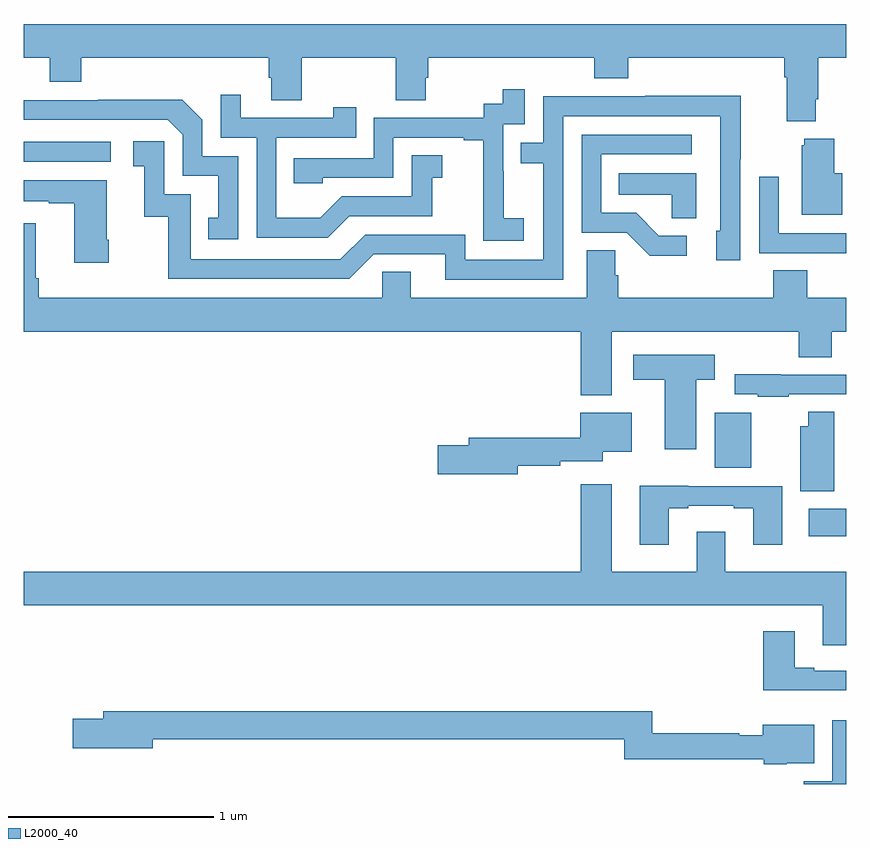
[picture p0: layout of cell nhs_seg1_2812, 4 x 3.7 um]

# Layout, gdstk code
import gdstk
lib = gdstk.Library(unit=1e-6, precision=1e-09)
def R(c, l, rs):  # rectangles x0, y0, x1, y1
    for r in rs: c.add(gdstk.rectangle(r[:2], r[2:], *l))
def P(c, l, *ps):  # polygons
    for p in ps: c.add(gdstk.Polygon(p, *l))
L2000_40 = (2000, 40)

nhs_seg1_2812 = lib.new_cell('nhs_seg1_2812')
R(nhs_seg1_2812, L2000_40, [(266.817,549.404,267,549.538), (266.36,549.737,266.539,550.006), (263,551.226,263.422,551.322)])
P(nhs_seg1_2812, L2000_40, [(266.851,551.53),(266.864,551.53),(266.864,551.732),(267,551.732),(267,551.896),(263,551.896),(263,551.732),(263.126,551.732),(263.126,551.615),(263.279,551.615),(263.279,551.732),(264.191,551.732),(264.191,551.634),(264.203,551.634),(264.203,551.524),(264.351,551.524),(264.351,551.732),(264.808,551.732),(264.808,551.524),(264.955,551.524),(264.955,551.634),(264.968,551.634),(264.968,551.732),(265.775,551.732),(265.775,551.633),(265.94,551.633),(265.94,551.732),(266.699,551.732),(266.699,551.636),(266.711,551.636),(266.711,551.423),(266.851,551.423)],
  [(265.432,550.951),(265.334,550.951),(265.334,551.18),(265.332,551.18),(265.332,551.409),(265.437,551.409),(265.437,551.578),(265.329,551.578),(265.329,551.508),(265.236,551.508),(265.236,551.439),(264.702,551.439),(264.702,551.244),(264.313,551.244),(264.313,551.121),(264.453,551.121),(264.453,551.148),(264.798,551.148),(264.798,551.343),(265.139,551.343),(265.139,551.331),(265.235,551.331),(265.235,551.047),(265.234,551.047),(265.234,550.841),(265.432,550.841)],
  [(264.583,550.962),(264.987,550.962),(264.987,551.147),(265.036,551.147),(265.036,551.257),(264.888,551.257),(264.888,551.058),(264.546,551.058),(264.442,550.954),(264.228,550.954),(264.228,551.343),(264.617,551.343),(264.617,551.491),(264.506,551.491),(264.506,551.439),(264.055,551.439),(264.055,551.551),(263.958,551.551),(263.958,551.343),(264.132,551.343),(264.132,550.857),(264.478,550.857)],
  [(265.623,551.448),(266.388,551.448),(266.388,550.89),(266.369,550.89),(266.369,550.746),(266.484,550.746),(266.484,551.239),(266.487,551.239),(266.487,551.546),(266.023,551.546),(266.023,551.544),(265.527,551.544),(265.527,551.319),(265.417,551.319),(265.417,551.218),(265.527,551.218),(265.527,550.749),(265.146,550.749),(265.146,550.872),(264.66,550.872),(264.54,550.752),(263.811,550.752),(263.811,551.067),(263.682,551.067),(263.682,551.326),(263.532,551.326),(263.532,551.205),(263.585,551.205),(263.585,550.959),(263.703,550.959),(263.703,550.656),(264.582,550.656),(264.702,550.776),(265.049,550.776),(265.049,550.653),(265.623,550.653)],
  [(264.042,551.253),(263.868,551.253),(263.868,551.43),(263.77,551.528),(263.362,551.528),(263.362,551.526),(263,551.526),(263,551.43),(263.7,551.43),(263.772,551.358),(263.772,551.157),(263.945,551.157),(263.945,550.953),(263.896,550.953),(263.896,550.848),(264.042,550.848)],
  [(266.224,550.866),(266.089,550.866),(265.978,550.977),(265.809,550.977),(265.809,551.262),(266.248,551.262),(266.248,551.358),(265.713,551.358),(265.713,550.881),(265.932,550.881),(266.045,550.769),(266.224,550.769)],
  [(266.98,551.17),(266.941,551.17),(266.941,551.338),(266.795,551.338),(266.795,551.307),(266.783,551.307),(266.783,550.967),(266.98,550.967)],
  [(266.272,551.17),(265.894,551.17),(265.894,551.066),(266.151,551.066),(266.151,550.951),(266.272,550.951)],
  [(267,550.878),(266.673,550.878),(266.673,551.152),(266.577,551.152),(266.577,550.782),(266.893,550.782),(266.893,550.781),(267,550.781)],
  [(263.412,550.846),(263.404,550.846),(263.404,551.137),(263,551.137),(263,551.033),(263.12,551.033),(263.12,551.023),(263.246,551.023),(263.246,550.734),(263.412,550.734)],
  [(265.861,550.4),(266.77,550.4),(266.77,550.276),(266.93,550.276),(266.93,550.4),(267,550.4),(267,550.564),(266.81,550.564),(266.81,550.697),(266.645,550.697),(266.645,550.564),(265.892,550.564),(265.892,550.673),(265.878,550.673),(265.878,550.796),(265.739,550.796),(265.739,550.564),(264.883,550.564),(264.883,550.691),(264.744,550.691),(264.744,550.564),(263.072,550.564),(263.072,550.66),(263.059,550.66),(263.059,550.927),(263,550.927),(263,550.4),(265.709,550.4),(265.709,550.091),(265.861,550.091)],
  [(266.272,550.166),(266.362,550.166),(266.362,550.288),(265.965,550.288),(265.965,550.166),(266.117,550.166),(266.117,549.828),(266.272,549.828)],
  [(266.72,550.095),(267,550.095),(267,550.191),(266.681,550.191),(266.681,550.193),(266.457,550.193),(266.457,550.095),(266.569,550.095),(266.569,550.083),(266.72,550.083)],
  [(266.941,550.01),(266.816,550.01),(266.816,549.94),(266.777,549.94),(266.777,549.623),(266.941,549.623)],
  [(265.402,549.748),(265.61,549.748),(265.61,549.768),(265.816,549.768),(265.816,549.815),(265.957,549.815),(265.957,550.006),(265.706,550.006),(265.706,549.884),(265.163,549.884),(265.163,549.848),(265.014,549.848),(265.014,549.706),(265.402,549.706)],
  [(267,549.232),(266.413,549.232),(266.413,549.427),(266.273,549.427),(266.273,549.232),(265.861,549.232),(265.861,549.658),(265.709,549.658),(265.709,549.232),(263,549.232),(263,549.068),(266.885,549.068),(266.885,548.874),(267,548.874)],
  [(266.137,549.54),(266.233,549.54),(266.233,549.552),(266.453,549.552),(266.453,549.54),(266.549,549.54),(266.549,549.363),(266.689,549.363),(266.689,549.648),(266.233,549.648),(266.233,549.649),(265.997,549.649),(265.997,549.363),(266.137,549.363)],
  [(267,548.751),(266.845,548.751),(266.845,548.764),(266.749,548.764),(266.749,548.941),(266.597,548.941),(266.597,548.654),(267,548.654)],
  [(266.712,548.3),(266.845,548.3),(266.845,548.488),(266.594,548.488),(266.594,548.436),(266.48,548.436),(266.48,548.447),(266.057,548.447),(266.057,548.552),(263.387,548.552),(263.387,548.516),(263.238,548.516),(263.238,548.374),(263.626,548.374),(263.626,548.416),(265.921,548.416),(265.921,548.319),(266.598,548.319),(266.598,548.294),(266.712,548.294)],
  [(267,548.509),(266.933,548.509),(266.933,548.212),(266.794,548.212),(266.794,548.199),(267,548.199)])

lib.write_gds('nhs_seg1_2812.gds')
